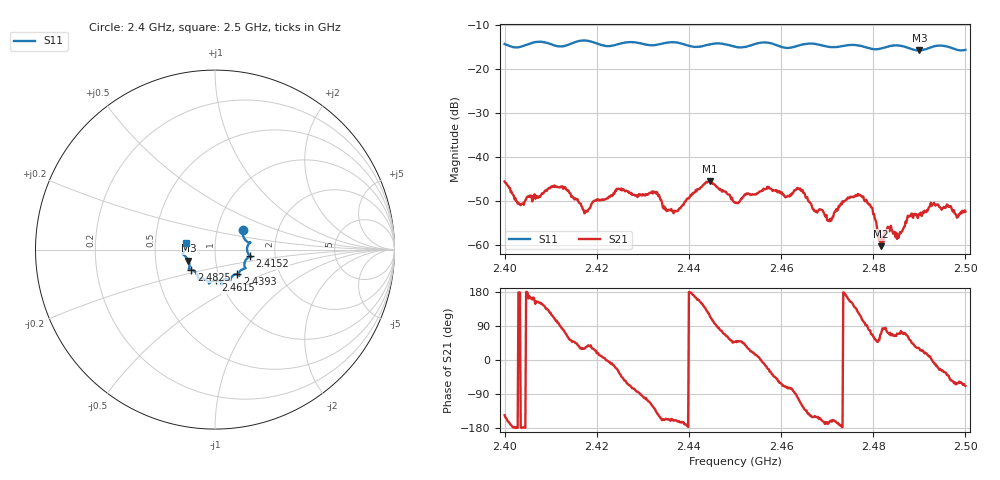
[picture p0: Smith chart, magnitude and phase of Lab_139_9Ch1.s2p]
# Hz S RI R 50
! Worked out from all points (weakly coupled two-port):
!   601 points, 2.4 GHz to 2.5 GHz, reference 50 ohm
!   highest |S21| = -45.58 dB at 2.4445 GHz (marker M1); lowest = -60.4 dB at 2.4817 GHz (marker M2)
!   lowest |S11| = -15.9 dB at 2.49 GHz (marker M3), VSWR 1.38, Z = 36.9 - j4.73 ohm
!   |S11| at or under -10 dB: start of sweep to end of sweep
!   S12 and S22 are empty: the file has one direction only
!   S11 on the Smith chart (normalised r, x): 2.4 GHz: 1.33, +0.30; 2.4152 GHz: 1.48, -0.11; 2.4393 GHz: 1.23, -0.35; 2.4615 GHz: 0.95, -0.34; 2.4825 GHz: 0.75, -0.17; 2.5 GHz: 0.72, +0.05
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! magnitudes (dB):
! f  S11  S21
! 2.4 GHz  -14.4  -45.7
! 2.4033 GHz  -15.1  -50.9
! 2.4107 GHz  -14.7  -46.8
! 2.4152 GHz  -14.0  -49.7
! 2.4167 GHz  -13.6  -51.2
! 2.4248 GHz  -14.4  -47.3
! 2.4333 GHz  -14.5  -49.0
! 2.4368 GHz  -14.0  -52.3
! 2.4393 GHz  -14.6  -50.1
! 2.4445 GHz  -14.5  -45.6
! 2.45 GHz  -15.0  -50.5
! 2.4615 GHz  -15.3  -48.9
! 2.4642 GHz  -14.7  -47.3
! 2.4667 GHz  -14.3  -51.2
! 2.4705 GHz  -15.1  -54.7
! 2.4773 GHz  -14.9  -48.9
! 2.4797 GHz  -15.5  -51.5
! 2.4817 GHz  -15.5  -60.4
! 2.4825 GHz  -15.2  -57.3
! 2.4833 GHz  -15.0  -56.2
! 2.49 GHz  -15.9  -53.0
! 2.5 GHz  -15.8  -52.5
